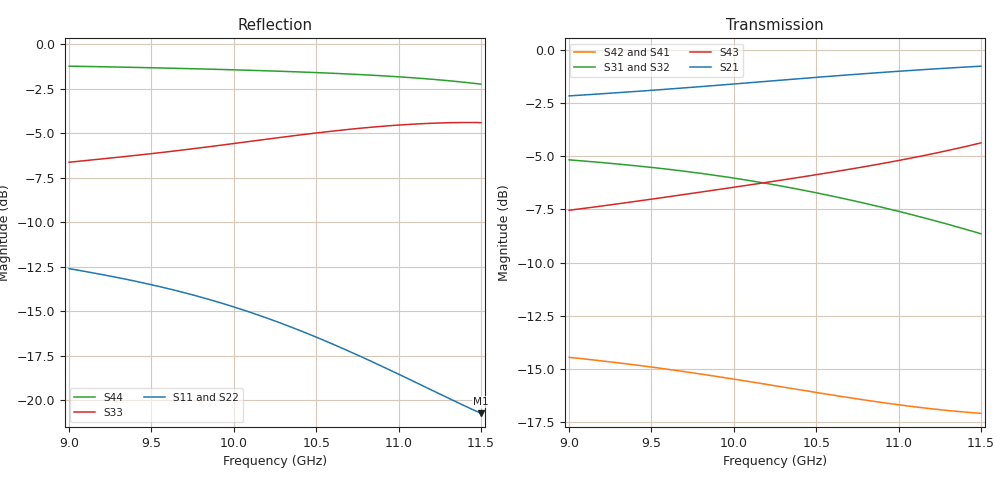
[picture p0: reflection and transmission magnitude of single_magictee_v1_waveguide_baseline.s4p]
! Touchstone file exported from HFSS 2025.2.4
!  File:  C:/Users/chaoy/Documents/single_magictee_v1_test5/single_magictee_v1.aedt
!  Generated:  08:48:03 AM Sep 19, 2026
!  Design:  SingleMagicT_v1
!  Project:  single_magictee_v1
! Variables:
!  f_adapt = 10.2GHz
!  ridge_g1 = 7.672mm
!  ridge_g2 = 4.984mm
!  ridge_l1 = 9.872mm
!  ridge_l2 = 8.857mm
!  ridge_w = 4.572mm
!  wg_a = 22.86mm
!  wg_b = 10.16mm
!Data is not renormalized
# GHz S MA
! Terminal data exported
! Port[1] = P1_CollinearMinusX
! Port[2] = P2_CollinearPlusX
! Port[3] = P3_HArm_Ridged
! Port[4] = P4_EArm
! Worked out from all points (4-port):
!   101 points, 9 GHz to 11.5 GHz, reference per port
!   strongest paths, dB at 9 GHz, 9.625 GHz, 10.25 GHz, 10.88 GHz, 11.5 GHz:
!     S21: -2.2, -1.8, -1.5, -1.1, -0.8
!     S43: -7.5, -6.9, -6.2, -5.4, -4.4
!     S31: -5.2, -5.6, -6.4, -7.4, -8.6
!     S32: -5.2, -5.7, -6.4, -7.4, -8.7
!     S42: -14.4, -15.0, -15.8, -16.5, -17.1
!     S41: -14.5, -15.1, -15.8, -16.6, -17.1
!   lowest |S11| = -20.7 dB at 11.5 GHz (marker M1), VSWR 1.20
!   |S11| at or under -10 dB: start of sweep to end of sweep
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9  0.2342 -10.6  0.7785 -169.1  0.551 110.3  0.1884 72.4
   0.7785 -169.1  0.2343 -10.9  0.5506 110.1  0.1895 72.0
   0.551 110.3  0.5506 110.1  0.4661 -147.8  0.4196 122.9
   0.1884 72.4  0.1895 72.0  0.4196 122.9  0.8675 -119.9
9.55  0.2084 -76.9  0.8049 126.6  0.5263 42.9  0.1777 -0.2
      0.8049 126.6  0.2095 -77.0  0.5256 42.7  0.1787 -0.6
      0.5263 42.9  0.5256 42.7  0.4957 140.4  0.4484 56.7
      0.1777 -0.2  0.1787 -0.6  0.4484 56.7  0.8576 171.4
9.9  0.1889 -117.2  0.8244 87.3  0.5059 0.8  0.1699 -45.2
     0.8244 87.3  0.1904 -117.3  0.505 0.7  0.1708 -45.6
     0.5059 0.8  0.505 0.7  0.5188 94.9  0.469 15.4
     0.1699 -45.2  0.1708 -45.6  0.469 15.4  0.8497 129.6
10.225  0.1685 -153.5  0.8438 51.4  0.483 -37.7  0.1622 -86.4
        0.8438 51.4  0.1704 -153.5  0.4821 -37.8  0.1631 -86.7
        0.483 -37.7  0.4821 -37.8  0.5428 53.4  0.4896 -22.4
        0.1622 -86.4  0.1631 -86.7  0.4896 -22.4  0.8411 91.7
10.575  0.1454 168.8  0.865 13.4  0.4549 -78.6  0.1541 -130.0
        0.865 13.4  0.1474 168.9  0.4539 -78.7  0.1551 -130.3
        0.4549 -78.6  0.4539 -78.7  0.5682 9.5  0.514 -62.8
        0.1541 -130.0  0.1551 -130.3  0.514 -62.8  0.8295 51.6
10.9  0.1244 134.8  0.8838 -21.7  0.4263 -116.0  0.1475 -170.1
      0.8838 -21.7  0.1262 135.0  0.4254 -116.1  0.1485 -170.3
      0.4263 -116.0  0.4254 -116.1  0.5879 -30.5  0.5401 -100.0
      0.1475 -170.1  0.1485 -170.3  0.5401 -100.0  0.8152 14.8
11.5  0.09185 71.7  0.9142 -85.8  0.3695 175.7  0.139 115.8
      0.9142 -85.8  0.09255 71.7  0.3689 175.6  0.14 115.7
      0.3695 175.7  0.3689 175.6  0.6022 -103.9  0.6039 -168.9
      0.139 115.8  0.14 115.7  0.6039 -168.9  0.7723 -52.8
